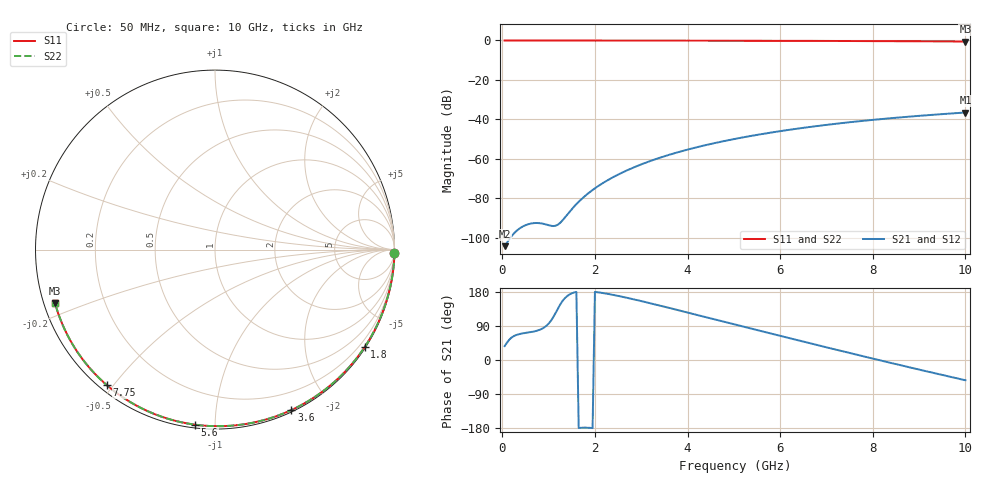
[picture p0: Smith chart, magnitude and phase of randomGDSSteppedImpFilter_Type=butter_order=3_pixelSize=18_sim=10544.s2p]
! freq	dB(S11)	phase(S11)	dB(S12)	phase(S12)
!  dB(S21)	phase(S21)	dB(S22)	phase(S22)
!S-par simulation data
#  GHz  S  DB  R 50
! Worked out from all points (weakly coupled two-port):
!   200 points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, 50 MHz to 10 GHz, reference 50 ohm
!   highest |S21| = -36.54 dB at 10 GHz (marker M1); lowest = -104.3 dB at 50 MHz (marker M2)
!   lowest |S11| = -0.5 dB at 10 GHz (marker M3), VSWR 32.18, Z = 1.59 - j8.11 ohm
!   |S11| at or under -10 dB: nowhere
!   |S22| runs from -0.5 to 0.0 dB; largest |S21 - S12| = 0
!   S11 on the Smith chart (normalised r, x): 50 MHz: open; 1.8 GHz: 0.03, -3.36; 3.6 GHz: 0.02, -1.58; 5.6 GHz: 0.02, -0.89; 7.75 GHz: 0.02, -0.48; 10 GHz: 0.03, -0.16
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0.05  -0.00 -0.9  -104.32 36.6  -104.32 36.6  -0.00 -0.9
0.45  -0.01 -8.4  -94.25 70.5  -94.25 70.5  -0.01 -8.4
0.85  -0.02 -15.8  -92.80 82.0  -92.80 82.0  -0.02 -15.9
1.7  -0.04 -31.4  -80.68 -178.8  -80.68 -178.8  -0.04 -31.4
1.75  -0.04 -32.3  -79.61 -178.5  -79.61 -178.5  -0.04 -32.3
1.8  -0.04 -33.2  -78.60 -178.5  -78.60 -178.5  -0.04 -33.2
1.95  -0.05 -35.9  -75.83 -179.6  -75.83 -179.6  -0.05 -35.9
2.1  -0.05 -38.5  -73.39 178.1  -73.39 178.1  -0.05 -38.5
2.3  -0.05 -42.1  -70.54 174.0  -70.54 174.0  -0.05 -42.1
2.5  -0.06 -45.6  -68.03 169.2  -68.03 169.2  -0.06 -45.6
2.9  -0.07 -52.6  -63.79 158.4  -63.79 158.4  -0.07 -52.6
3.4  -0.08 -61.1  -59.49 143.7  -59.49 143.7  -0.08 -61.2
3.6  -0.09 -64.5  -58.01 137.6  -58.01 137.6  -0.09 -64.5
4.3  -0.11 -76.1  -53.58 116.0  -53.58 116.0  -0.11 -76.1
5.05  -0.14 -88.1  -49.80 92.9  -49.80 92.9  -0.14 -88.1
5.6  -0.16 -96.6  -47.49 76.0  -47.49 76.0  -0.16 -96.6
6.15  -0.19 -105.0  -45.46 59.2  -45.46 59.2  -0.19 -105.0
6.7  -0.22 -113.2  -43.69 42.5  -43.69 42.5  -0.22 -113.2
7.75  -0.30 -128.6  -40.85 11.1  -40.85 11.1  -0.30 -128.6
8.35  -0.35 -137.3  -39.50 -6.5  -39.50 -6.5  -0.35 -137.3
9.2  -0.44 -149.7  -37.87 -31.0  -37.87 -31.0  -0.44 -149.7
10  -0.54 -161.6  -36.54 -53.4  -36.54 -53.4  -0.54 -161.6
